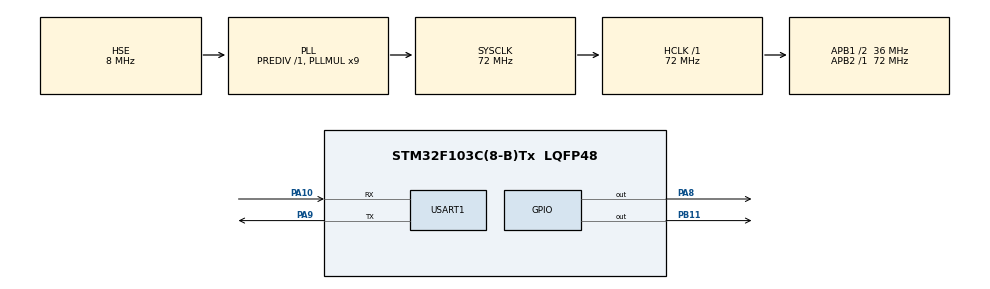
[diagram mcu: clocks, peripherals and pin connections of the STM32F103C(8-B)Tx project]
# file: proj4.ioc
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FREERTOS.Tasks01=defaultTask,0,128,StartDefaultTask
Mcu.Family=STM32F1
Mcu.Name=STM32F103C(8-B)Tx
Mcu.Package=LQFP48
NVIC.PriorityGroup=NVIC_PRIORITYGROUP_4
PA10.Mode=Asynchronous
PA10.Signal=USART1_RX
PA8.Signal=GPIO_Output
PA9.Mode=Asynchronous
PA9.Signal=USART1_TX
PB11.Signal=GPIO_Output
PD0-OSC_IN.Mode=HSE-External-Oscillator
PD0-OSC_IN.Signal=RCC_OSC_IN
PD1-OSC_OUT.Mode=HSE-External-Oscillator
PD1-OSC_OUT.Signal=RCC_OSC_OUT
ProjectManager.TargetToolchain=EWARM 6.70
RCC.AHBFreq_Value=72000000
RCC.APB1CLKDivider=RCC_HCLK_DIV2
RCC.APB1Freq_Value=36000000
RCC.APB1TimFreq_Value=72000000
RCC.APB2Freq_Value=72000000
RCC.APB2TimFreq_Value=72000000
RCC.HCLKFreq_Value=72000000
RCC.HSIState=RCC_HSI_ON
RCC.PLLMUL=RCC_PLL_MUL9
RCC.PLLSourceVirtual=RCC_PLLSOURCE_HSE
RCC.SYSCLKFreq_VALUE=72000000
RCC.SYSCLKSource=RCC_SYSCLKSOURCE_PLLCLK
RCC.USBFreq_Value=48000000
RCC.USBPrescaler=RCC_USBPLLCLK_DIV1_5
TIM2.Prescaler=71
VP_FREERTOS_VS_ENABLE.Mode=Enabled
VP_TIM1_VS_ClockSourceINT.Mode=Internal
VP_TIM2_VS_ClockSourceINT.Mode=Internal

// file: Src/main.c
/**
  ******************************************************************************
  * File Name          : main.c
  * Date               : 26/03/2015 16:58:44
  * Description        : Main program body
  ******************************************************************************
  *
  * COPYRIGHT(c) 2015 STMicroelectronics
  *
  * Redistribution and use in source and binary forms, with or without modification,
  * are permitted provided that the following conditions are met:
  *   1. Redistributions of source code must retain the above copyright notice,
  *      this list of conditions and the following disclaimer.
  *   2. Redistributions in binary form must reproduce the above copyright notice,
  *      this list of conditions and the following disclaimer in the documentation
  *      and/or other materials provided with the distribution.
  *   3. Neither the name of STMicroelectronics nor the names of its contributors
  *      may be used to endorse or promote products derived from this software
  *      without specific prior written permission.
  *
  * THIS SOFTWARE IS PROVIDED BY THE COPYRIGHT HOLDERS AND CONTRIBUTORS "AS IS"
  * AND ANY EXPRESS OR IMPLIED WARRANTIES, INCLUDING, BUT NOT LIMITED TO, THE
  * IMPLIED WARRANTIES OF MERCHANTABILITY AND FITNESS FOR A PARTICULAR PURPOSE ARE
  * DISCLAIMED. IN NO EVENT SHALL THE COPYRIGHT HOLDER OR CONTRIBUTORS BE LIABLE
  * FOR ANY DIRECT, INDIRECT, INCIDENTAL, SPECIAL, EXEMPLARY, OR CONSEQUENTIAL
  * DAMAGES (INCLUDING, BUT NOT LIMITED TO, PROCUREMENT OF SUBSTITUTE GOODS OR
  * SERVICES; LOSS OF USE, DATA, OR PROFITS; OR BUSINESS INTERRUPTION) HOWEVER
  * CAUSED AND ON ANY THEORY OF LIABILITY, WHETHER IN CONTRACT, STRICT LIABILITY,
  * OR TORT (INCLUDING NEGLIGENCE OR OTHERWISE) ARISING IN ANY WAY OUT OF THE USE
  * OF THIS SOFTWARE, EVEN IF ADVISED OF THE POSSIBILITY OF SUCH DAMAGE.
  *
  ******************************************************************************
  */

#include "stm32f1xx_hal.h"
#include "cmsis_os.h"

TIM_HandleTypeDef htim1;
TIM_HandleTypeDef htim2;

UART_HandleTypeDef huart1;

osThreadId defaultTaskHandle;

/* USER CODE BEGIN PV */
xSemaphoreHandle xBinarySemaphore;

/* USER CODE END PV */

void SystemClock_Config(void);
static void MX_GPIO_Init(void);
static void MX_TIM1_Init(void);
static void MX_TIM2_Init(void);
static void MX_USART1_UART_Init(void);
void StartDefaultTask(void const * argument);
#ifdef __GNUC__
/* With GCC/RAISONANCE, small printf (option LD Linker->Libraries->Small printf
    set to 'Yes') calls __io_putchar() */
#define PUTCHAR_PROTOTYPE int __io_putchar(int ch)
 #else
 #define PUTCHAR_PROTOTYPE int fputc(int ch, FILE *f)
#endif /* __GNUC__ */

/* USER CODE BEGIN PFP */
void vGreenBlinkTask( void *pvParametrs );
void vRedBlinkTask( void *pvParametrs );
static void Error_Handler(void);
void tm_delay(uint16_t us);

/* USER CODE END PFP */

int main(void)
{

  /* MCU Configuration----------------------------------------------------------*/

  /* Reset of all peripherals, Initializes the Flash interface and the Systick. */
  HAL_Init();

  /* Configure the system clock */
  SystemClock_Config();

  /* Initialize all configured peripherals */
  MX_GPIO_Init();
  MX_TIM1_Init();
  MX_TIM2_Init();
  MX_USART1_UART_Init();

  /* USER CODE BEGIN 2 */
 /* Output a message on Hyperterminal using printf function */
   printf("\n\r UART Printf Example: retarget the C library printf function to the UART\n\r");
   printf("** Test finished successfully. ** \n\r");

  /* USER CODE END 2 */

  /* USER CODE BEGIN RTOS_SEMAPHORES */
  /* add semaphores, ... */
 xBinarySemaphore =  xSemaphoreCreateBinary();
  /* USER CODE END RTOS_SEMAPHORES */

  /* Create the thread(s) */
  /* definition and creation of defaultTask */
  osThreadDef(defaultTask, StartDefaultTask, osPriorityNormal, 0, 128);
  defaultTaskHandle = osThreadCreate(osThread(defaultTask), NULL);

  /* USER CODE BEGIN RTOS_THREADS */
  /* add threads, ... */

  xTaskCreate( &vGreenBlinkTask,
            "GreenBlink",
            configMINIMAL_STACK_SIZE,
            NULL,
            1,
            NULL );
/*
  xTaskCreate( &vRedBlinkTask,
            "RedBlink",
            configMINIMAL_STACK_SIZE,
            NULL,
            1,
            NULL );
*/

  /* USER CODE END RTOS_THREADS */

  /* Start scheduler */
  osKernelStart();

  /* We should never get here as control is now taken by the scheduler */

  while (1)
  {
  }

}

/** System Clock Configuration
*/
void SystemClock_Config(void)
{

  RCC_OscInitTypeDef RCC_OscInitStruct;
  RCC_ClkInitTypeDef RCC_ClkInitStruct;

  RCC_OscInitStruct.OscillatorType = RCC_OSCILLATORTYPE_HSE;
  RCC_OscInitStruct.HSEState = RCC_HSE_ON;
  RCC_OscInitStruct.HSEPredivValue = RCC_HSE_PREDIV_DIV1;
  RCC_OscInitStruct.PLL.PLLState = RCC_PLL_ON;
  RCC_OscInitStruct.PLL.PLLSource = RCC_PLLSOURCE_HSE;
  RCC_OscInitStruct.PLL.PLLMUL = RCC_PLL_MUL9;
  HAL_RCC_OscConfig(&RCC_OscInitStruct);

  RCC_ClkInitStruct.ClockType = RCC_CLOCKTYPE_SYSCLK|RCC_CLOCKTYPE_PCLK1;
  RCC_ClkInitStruct.SYSCLKSource = RCC_SYSCLKSOURCE_PLLCLK;
  RCC_ClkInitStruct.AHBCLKDivider = RCC_SYSCLK_DIV1;
  RCC_ClkInitStruct.APB1CLKDivider = RCC_HCLK_DIV2;
  RCC_ClkInitStruct.APB2CLKDivider = RCC_HCLK_DIV1;
  HAL_RCC_ClockConfig(&RCC_ClkInitStruct, FLASH_LATENCY_2);

  __HAL_RCC_AFIO_CLK_ENABLE();

}

/* TIM1 init function */
void MX_TIM1_Init(void)
{

  TIM_ClockConfigTypeDef sClockSourceConfig;
  TIM_MasterConfigTypeDef sMasterConfig;

  htim1.Instance = TIM1;
  htim1.Init.Prescaler = 0;
  htim1.Init.CounterMode = TIM_COUNTERMODE_UP;
  htim1.Init.Period = 0;
  htim1.Init.ClockDivision = TIM_CLOCKDIVISION_DIV1;
  htim1.Init.RepetitionCounter = 0;
  HAL_TIM_Base_Init(&htim1);

  sClockSourceConfig.ClockSource = TIM_CLOCKSOURCE_INTERNAL;
  HAL_TIM_ConfigClockSource(&htim1, &sClockSourceConfig);

  sMasterConfig.MasterOutputTrigger = TIM_TRGO_RESET;
  sMasterConfig.MasterSlaveMode = TIM_MASTERSLAVEMODE_DISABLE;
  HAL_TIMEx_MasterConfigSynchronization(&htim1, &sMasterConfig);

}

/* TIM2 init function */
void MX_TIM2_Init(void)
{

  TIM_ClockConfigTypeDef sClockSourceConfig;
  TIM_MasterConfigTypeDef sMasterConfig;

  htim2.Instance = TIM2;
  htim2.Init.Prescaler = 71;
  htim2.Init.CounterMode = TIM_COUNTERMODE_UP;
  htim2.Init.Period = 0;
  htim2.Init.ClockDivision = TIM_CLOCKDIVISION_DIV1;
  HAL_TIM_Base_Init(&htim2);

  sClockSourceConfig.ClockSource = TIM_CLOCKSOURCE_INTERNAL;
  HAL_TIM_ConfigClockSource(&htim2, &sClockSourceConfig);

  sMasterConfig.MasterOutputTrigger = TIM_TRGO_RESET;
  sMasterConfig.MasterSlaveMode = TIM_MASTERSLAVEMODE_DISABLE;
  HAL_TIMEx_MasterConfigSynchronization(&htim2, &sMasterConfig);

}

/* USART1 init function */
void MX_USART1_UART_Init(void)
{

  huart1.Instance = USART1;
  huart1.Init.BaudRate = 115200;
  huart1.Init.WordLength = UART_WORDLENGTH_8B;
  huart1.Init.StopBits = UART_STOPBITS_1;
  huart1.Init.Parity = UART_PARITY_NONE;
  huart1.Init.Mode = UART_MODE_TX_RX;
  huart1.Init.HwFlowCtl = UART_HWCONTROL_NONE;
  huart1.Init.OverSampling = UART_OVERSAMPLING_16;
  HAL_UART_Init(&huart1);

}

/** Configure pins as
        * Analog
        * Input
        * Output
        * EVENT_OUT
        * EXTI
*/
void MX_GPIO_Init(void)
{

  GPIO_InitTypeDef GPIO_InitStruct;

  /* GPIO Ports Clock Enable */
  __GPIOD_CLK_ENABLE();
  __GPIOB_CLK_ENABLE();
  __GPIOA_CLK_ENABLE();

  /*Configure GPIO pin : PB11 */
  GPIO_InitStruct.Pin = GPIO_PIN_11;
  GPIO_InitStruct.Mode = GPIO_MODE_OUTPUT_PP;
  GPIO_InitStruct.Speed = GPIO_SPEED_LOW;
  HAL_GPIO_Init(GPIOB, &GPIO_InitStruct);

  /*Configure GPIO pin : PA8 */
  GPIO_InitStruct.Pin = GPIO_PIN_8;
  GPIO_InitStruct.Mode = GPIO_MODE_OUTPUT_PP;
  GPIO_InitStruct.Speed = GPIO_SPEED_LOW;
  HAL_GPIO_Init(GPIOA, &GPIO_InitStruct);

}

/* USER CODE BEGIN 4 */
void vGreenBlinkTask( void *pvParametrs ) {
    for( ;; ) {
      //xSemaphoreTake(xBinarySemaphore,portMAX_DELAY);
      vTaskDelay( 100 );
      HAL_GPIO_WritePin(GPIOA, GPIO_PIN_8, GPIO_PIN_SET);
      vTaskDelay( 100 );
      HAL_GPIO_WritePin(GPIOA, GPIO_PIN_8, GPIO_PIN_RESET);
      printf("Ok\n\r");
    }
}

void vRedBlinkTask( void *pvParametrs ) {
    for( ;; ) {
      //xSemaphoreTake(xBinarySemaphore,portMAX_DELAY);
      tm_delay( 20 );
      HAL_GPIO_WritePin(GPIOB, GPIO_PIN_11, GPIO_PIN_SET);
      tm_delay( 150 );
      HAL_GPIO_WritePin(GPIOB, GPIO_PIN_11, GPIO_PIN_RESET);
    }
}

void tm_delay(uint16_t us)
{
  uint16_t start = TIM2->CNT;
    do { } while((TIM2->CNT - start) < us);
}

/**
 * 129   * @brief  Retargets the C library printf function to the USART.
 * 130   * @param  None
 * 131   * @retval None
 * 132   */
 PUTCHAR_PROTOTYPE
 {
   /* Place your implementation of fputc here */
   /* e.g. write a character to the USART1 and Loop until the end of transmission */
   HAL_UART_Transmit(&huart1, (uint8_t *)&ch, 1, 0xFFFF);

  return ch;
 }

/* USER CODE END 4 */

void StartDefaultTask(void const * argument)
{

  for(;;)
  {
    osDelay(1);
  }

}

/************************ (C) COPYRIGHT STMicroelectronics *****END OF FILE****/
